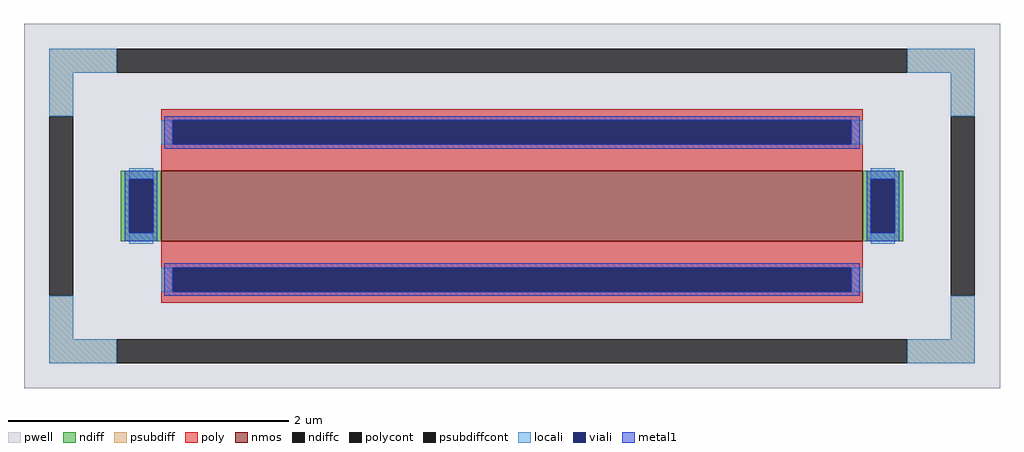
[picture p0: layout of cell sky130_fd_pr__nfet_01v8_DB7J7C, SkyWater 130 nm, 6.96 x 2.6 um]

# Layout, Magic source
magic
tech sky130A
<< pwell >>
rect -348 -130 348 130
<< nmos >>
rect -250 -25 250 25
<< ndiff >>
rect -279 19 -250 25
rect -279 -19 -273 19
rect -256 -19 -250 19
rect -279 -25 -250 -19
rect 250 19 279 25
rect 250 -19 256 19
rect 273 -19 279 19
rect 250 -25 279 -19
<< ndiffc >>
rect -273 -19 -256 19
rect 256 -19 273 19
<< psubdiff >>
rect -330 95 -282 112
rect 282 95 330 112
rect -330 64 -313 95
rect 313 64 330 95
rect -330 -95 -313 -64
rect 313 -95 330 -64
rect -330 -112 -282 -95
rect 282 -112 330 -95
<< psubdiffcont >>
rect -282 95 282 112
rect -330 -64 -313 64
rect 313 -64 330 64
rect -282 -112 282 -95
<< poly >>
rect -250 61 250 69
rect -250 44 -242 61
rect 242 44 250 61
rect -250 25 250 44
rect -250 -44 250 -25
rect -250 -61 -242 -44
rect 242 -61 250 -44
rect -250 -69 250 -61
<< polycont >>
rect -242 44 242 61
rect -242 -61 242 -44
<< locali >>
rect -330 95 -282 112
rect 282 95 330 112
rect -330 64 -313 95
rect 313 64 330 95
rect -250 44 -242 61
rect 242 44 250 61
rect -273 19 -256 27
rect -273 -27 -256 -19
rect 256 19 273 27
rect 256 -27 273 -19
rect -250 -61 -242 -44
rect 242 -61 250 -44
rect -330 -95 -313 -64
rect 313 -95 330 -64
rect -330 -112 -282 -95
rect 282 -112 330 -95
<< viali >>
rect -242 44 242 61
rect -273 -19 -256 19
rect 256 -19 273 19
rect -242 -61 242 -44
<< metal1 >>
rect -248 61 248 64
rect -248 44 -242 61
rect 242 44 248 61
rect -248 41 248 44
rect -276 19 -253 25
rect -276 -19 -273 19
rect -256 -19 -253 19
rect -276 -25 -253 -19
rect 253 19 276 25
rect 253 -19 256 19
rect 273 -19 276 19
rect 253 -25 276 -19
rect -248 -44 248 -41
rect -248 -61 -242 -44
rect 242 -61 248 -44
rect -248 -64 248 -61
<< properties >>
string FIXED_BBOX -321 -103 321 103
string gencell sky130_fd_pr__nfet_01v8
string library sky130
string parameters w 0.5 l 5.0 m 1 nf 1 diffcov 100 polycov 100 guard 1 glc 1 grc 1 gtc 1 gbc 1 tbcov 100 rlcov 100 topc 1 botc 1 poverlap 0 doverlap 1 lmin 0.15 wmin 0.42 class mosfet compatible {sky130_fd_pr__nfet_01v8 sky130_fd_pr__nfet_01v8_lvt  sky130_fd_bs_flash__special_sonosfet_star  sky130_fd_pr__nfet_g5v0d10v5 sky130_fd_pr__nfet_05v0_nvt  sky130_fd_pr__nfet_03v3_nvt} full_metal 1 viasrc 100 viadrn 100 viagate 100 viagb 0 viagr 0 viagl 0 viagt 0
<< end >>
